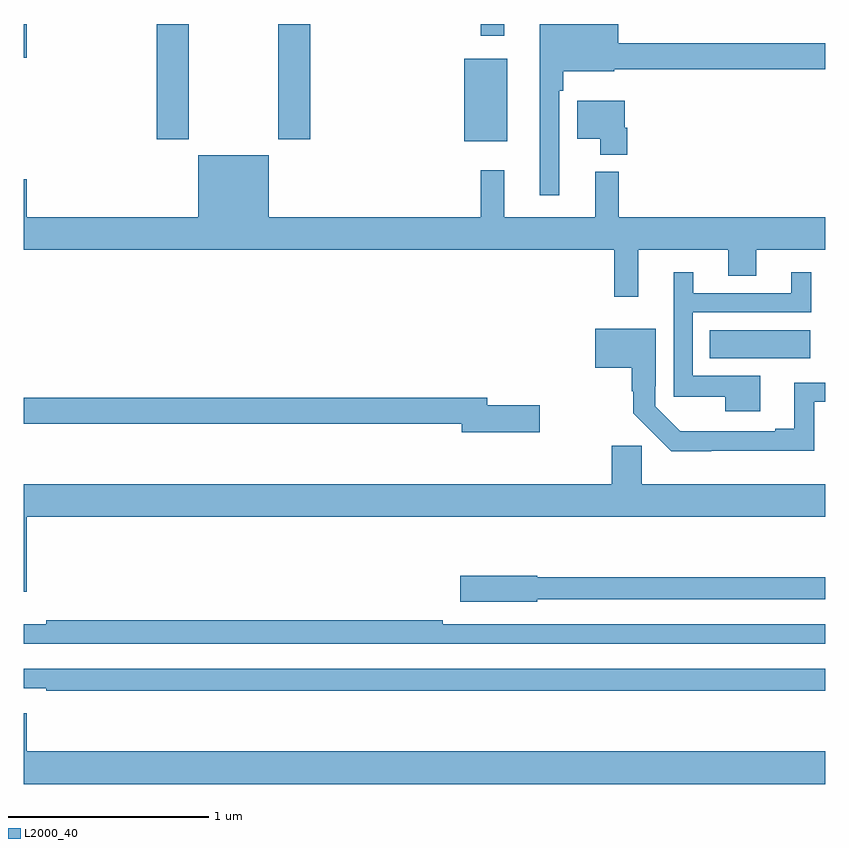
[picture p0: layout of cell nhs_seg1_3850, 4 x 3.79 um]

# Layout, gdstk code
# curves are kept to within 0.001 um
import gdstk
lib = gdstk.Library(unit=1e-6, precision=1e-09)
def R(c, l, rs):  # rectangles x0, y0, x1, y1
    for r in rs: c.add(gdstk.rectangle(r[:2], r[2:], *l))
def P(c, l, *ps):  # polygons
    for p in ps: c.add(gdstk.Polygon(p, *l))
L2000_40 = (2000, 40)

nhs_seg1_3850 = lib.new_cell('nhs_seg1_3850')
R(nhs_seg1_3850, L2000_40, [(324.424,544.532,324.925,544.672), (323.198,545.615,323.413,546.025), (321.665,545.625,321.825,546.199), (322.27,545.625,322.43,546.199), (321,546.03,321.016,546.199), (323.281,546.141,323.398,546.199)])
P(nhs_seg1_3850, L2000_40, [(323.673,545.867),(323.693,545.867),(323.693,545.963),(323.947,545.963),(323.947,545.974),(325,545.974),(325,546.103),(323.966,546.103),(323.966,546.199),(323.576,546.199),(323.576,545.346),(323.673,545.346)],
  [(324.011,545.682),(323.998,545.682),(323.998,545.815),(323.762,545.815),(323.762,545.627),(323.876,545.627),(323.876,545.546),(324.011,545.546)],
  [(324.065,545.072),(324.515,545.072),(324.515,544.942),(324.655,544.942),(324.655,545.072),(325,545.072),(325,545.236),(323.969,545.236),(323.969,545.461),(323.852,545.461),(323.852,545.236),(323.399,545.236),(323.399,545.47),(323.281,545.47),(323.281,545.236),(322.222,545.236),(322.222,545.545),(321.872,545.545),(321.872,545.236),(321.016,545.236),(321.016,545.425),(321,545.425),(321,545.072),(323.947,545.072),(323.947,544.839),(324.065,544.839)],
  [(324.676,544.444),(324.339,544.444),(324.339,544.761),(324.928,544.761),(324.928,544.96),(324.83,544.96),(324.83,544.857),(324.34,544.857),(324.34,544.96),(324.243,544.96),(324.243,544.34),(324.5,544.34),(324.5,544.268),(324.676,544.268)],
  [(324.431,544.07),(324.943,544.07),(324.943,544.314),(325,544.314),(325,544.41),(324.845,544.41),(324.845,544.18),(324.749,544.18),(324.749,544.167),(324.276,544.168),(324.15,544.293),(324.15,544.393),(324.153,544.393),(324.153,544.678),(323.852,544.678),(323.852,544.484),(324.035,544.484),(324.035,544.367),(324.042,544.367),(324.042,544.257),(324.232,544.068),(324.431,544.068)],
  [(323.575,544.298),(323.314,544.298),(323.314,544.334),(321,544.334),(321,544.206),(323.186,544.206),(323.186,544.163),(323.575,544.163)],
  [(321.016,543.74),(325,543.74),(325,543.904),(324.083,543.904),(324.083,544.095),(323.933,544.095),(323.933,543.904),(321,543.904),(321,543.366),(321.016,543.366)],
  [(323.562,543.33),(325,543.33),(325,543.439),(323.562,543.439),(323.562,543.447),(323.178,543.447),(323.178,543.317),(323.562,543.317)],
  [(325,543.204),(323.09,543.204),(323.09,543.224),(321.112,543.224),(321.112,543.205),(321,543.205),(321,543.108),(325,543.108)],
  [(325,542.982),(321,542.982),(321,542.886),(321.112,542.886),(321.112,542.874),(325,542.874)],
  [(325,542.572),(321.016,542.572),(321.016,542.761),(321,542.761),(321,542.408),(325,542.408)])

lib.write_gds('nhs_seg1_3850.gds')
